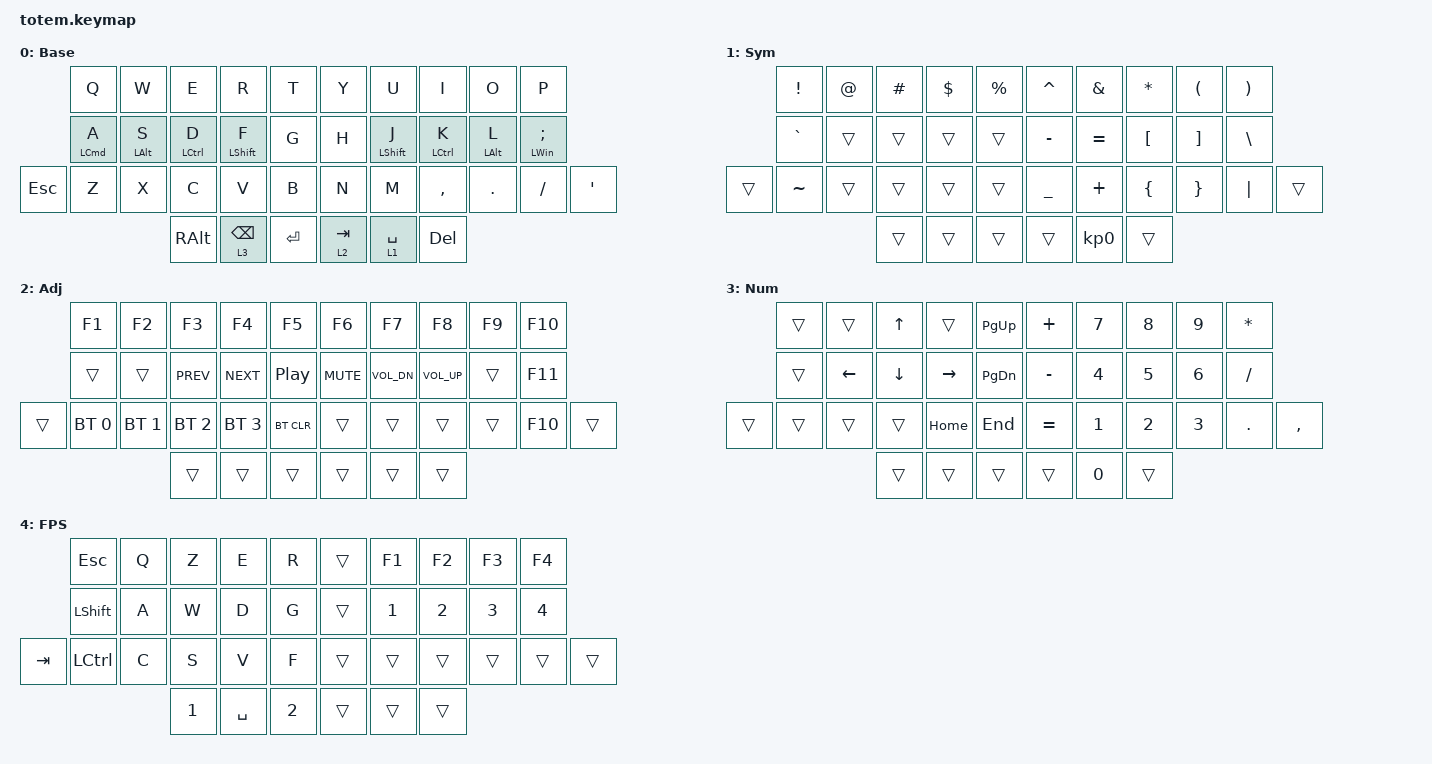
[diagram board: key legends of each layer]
//
//                                                        ▀▀▀▀▀     ▀▀▀▀▀          ▀▀█▀▀
//                                                        ▄▀▀▀▄  ▄  ▄▀▀▀▄  ▄  ▄▀▀▀▄  █  ▄▀▀▀▄
//                                                        █   █  █  █   █  █  █   █  █  █   █
//                                                         ▀▀▀   █   ▀▀▀   █   ▀▀▀   ▀   ▀▀▀
//                                                               █      ▄▄▄█▄▄▄    █   █  
//                                                               ▀      █  █  █     █▄█
//                                                             ▀▀▀▀▀    █  █  █      ▀
//                                                                      ▀  ▀  ▀
//
// ▄▄▄▄▄▄▄▄▄▄▄▄▄▄▄▄▄▄▄▄▄▄▄▄▄▄▄▄▄▄▄▄▄▄▄▄▄▄▄▄▄▄▄▄▄▄▄▄▄▄▄▄▄▄▄▄▄▄▄▄▄▄▄▄▄▄▄▄▄▄▄▄▄▄▄▄▄▄▄▄▄▄▄▄▄▄▄▄▄▄▄▄▄▄▄▄▄▄▄▄▄▄▄▄▄▄▄▄▄▄▄▄▄▄▄▄▄▄▄▄▄▄▄▄▄▄▄▄▄▄▄▄▄▄▄▄▄▄▄▄▄▄▄▄▄▄▄▄▄

#include <behaviors.dtsi>
#include <dt-bindings/zmk/bt.h>
#include <dt-bindings/zmk/keys.h>

#define BASE 0
#define NAV  1
#define SYM  2
#define ADJ  3
#define TVP1 4
#define TVP2 5

&mt {
    quick-tap-ms = <100>;
    global-quick-tap;
    flavor = "tap-preferred";
    tapping-term-ms = <170>;
};

/ {
    combos {
        compatible = "zmk,combos";

        combo_esc {
            timeout-ms = <50>;
            key-positions = <0 1>;
            bindings = <&kp ESC>;
        };

        combo_tvp {
            timeout-ms = <100>;
            key-positions = <11 12 13>;
            bindings = <&tog 0>;
        };
    };

    macros {
        gif: gif {
            label = "giphy";
            compatible = "zmk,behavior-macro";
            #binding-cells = <0>;
            bindings =
                <&macro_press>,
                <&kp LSHFT>,
                <&macro_tap>,
                <&kp N2>,
                <&macro_release>,
                <&kp LSHFT>,
                <&macro_tap>,
                <&kp G &kp I &kp F>;
        };
    };

    keymap {
        compatible = "zmk,keymap";

        // ▄▄▄▄▄▄▄▄▄▄▄▄▄▄▄▄▄▄▄▄▄▄▄▄▄▄▄▄▄▄▄▄▄▄▄▄▄▄▄▄▄▄▄▄▄▄▄▄▄▄▄▄▄▄▄▄▄▄▄▄▄▄▄▄▄▄▄▄▄▄▄▄▄▄▄▄▄▄▄▄▄▄▄▄▄▄▄▄▄▄▄▄▄▄▄▄▄▄▄▄▄▄▄▄▄▄▄▄▄▄▄▄▄▄▄▄▄▄▄▄▄▄▄▄▄▄▄▄▄▄▄▄▄▄▄▄▄▄▄▄▄▄▄▄▄▄▄▄▄

        base_layer {
            // ┏━━━━━━━━━━━━━━━━━━━━━━━━━━━━━━━━━━━━━━━┓

            label = "Base";

            // ┗━━━━━━━━━━━━━━━━━━━━━━━━━━━━━━━━━━━━━━━┛
            //             ┏━━━━━━━━━━━┳━━━━━━━━━━━┳━━━━━━━━━━━┳━━━━━━━━━━━┳━━━━━━━━━━━┓   ┏━━━━━━━━━━━┳━━━━━━━━━━━┳━━━━━━━━━━━┳━━━━━━━━━━━┳━━━━━━━━━━━┓
            //             ┃     Q     ┃     W     ┃     F     ┃     P     ┃     G     ┃   ┃     J     ┃     L     ┃     U     ┃     Y     ┃     ;     ┃
            //             ┣━━━━━━━━━━━╋━━━━━━━━━━━╋━━━━━━━━━━━╋━━━━━━━━━━━╋━━━━━━━━━━━┫   ┣━━━━━━━━━━━╋━━━━━━━━━━━╋━━━━━━━━━━━╋━━━━━━━━━━━╋━━━━━━━━━━━┫
            //             ┃     A     ┃     R     ┃     S     ┃     T     ┃     D     ┃   ┃     H     ┃     N     ┃     E     ┃     I     ┃     O     ┃
            // ┏━━━━━━━━━━━╋━━━━━━━━━━━╋━━━━━━━━━━━╋━━━━━━━━━━━╋━━━━━━━━━━━╋━━━━━━━━━━━┫   ┣━━━━━━━━━━━╋━━━━━━━━━━━╋━━━━━━━━━━━╋━━━━━━━━━━━╋━━━━━━━━━━━╋━━━━━━━━━━━┓
            // ┃     Q     ┃     Z     ┃     X     ┃     C     ┃     V     ┃     B     ┃   ┃     K     ┃     M     ┃     ,     ┃     .     ┃     /     ┃     \     ┃
            // ┗━━━━━━━━━━━┻━━━━━━━━━━━┻━━━━━━━━━━━╋━━━━━━━━━━━╋━━━━━━━━━━━╋━━━━━━━━━━━┫   ┣━━━━━━━━━━━╋━━━━━━━━━━━╋━━━━━━━━━━━╋━━━━━━━━━━━┻━━━━━━━━━━━┻━━━━━━━━━━━┛
            //                                     ┃    DEL    ┃    TAB    ┃    SPC    ┃   ┃   ENTER   ┃           ┃   BSPC    ┃
            //                                     ┗━━━━━━━━━━━┻━━━━━━━━━━━┻━━━━━━━━━━━┛   ┗━━━━━━━━━━━┻━━━━━━━━━━━┻━━━━━━━━━━━┛

            bindings = <
            &kp Q               &kp W           &kp E        &kp R             &kp T        &kp Y      &kp U             &kp I        &kp O           &kp P
            &mt LEFT_COMMAND A  &mt LEFT_ALT S  &mt LCTRL D  &mt LEFT_SHIFT F  &kp G        &kp H      &mt LEFT_SHIFT J  &mt LCTRL K  &mt LEFT_ALT L  &mt LEFT_WIN SEMICOLON
&kp ESCAPE  &kp Z               &kp X           &kp C        &kp V             &kp B        &kp N      &kp M             &kp COMMA    &kp DOT         &kp FSLH                &kp SQT
                                                &kp RALT     &lt 3 BACKSPACE   &kp ENTER    &lt 2 TAB  &lt 1 SPACE       &kp DEL
            >;
        };

        // ▄▄▄▄▄▄▄▄▄▄▄▄▄▄▄▄▄▄▄▄▄▄▄▄▄▄▄▄▄▄▄▄▄▄▄▄▄▄▄▄▄▄▄▄▄▄▄▄▄▄▄▄▄▄▄▄▄▄▄▄▄▄▄▄▄▄▄▄▄▄▄▄▄▄▄▄▄▄▄▄▄▄▄▄▄▄▄▄▄▄▄▄▄▄▄▄▄▄▄▄▄▄▄▄▄▄▄▄▄▄▄▄▄▄▄▄▄▄▄▄▄▄▄▄▄▄▄▄▄▄▄▄▄▄▄▄▄▄▄▄▄▄▄▄▄▄▄▄▄

        sym_layer {
            // ┏━━━━━━━━━━━━━━━━━━━━━━━━━━━━━━━━━━━━━━━┓

            label = "Sym";

            // ┗━━━━━━━━━━━━━━━━━━━━━━━━━━━━━━━━━━━━━━━┛
            //             ┏━━━━━━━━━━━┳━━━━━━━━━━━┳━━━━━━━━━━━┳━━━━━━━━━━━┳━━━━━━━━━━━┓   ┏━━━━━━━━━━━┳━━━━━━━━━━━┳━━━━━━━━━━━┳━━━━━━━━━━━┳━━━━━━━━━━━┓
            //             ┃           ┃           ┃     UP    ┃           ┃     {     ┃   ┃     }     ┃     7     ┃     8     ┃     9     ┃     +     ┃
            //             ┣━━━━━━━━━━━╋━━━━━━━━━━━╋━━━━━━━━━━━╋━━━━━━━━━━━╋━━━━━━━━━━━┫   ┣━━━━━━━━━━━╋━━━━━━━━━━━╋━━━━━━━━━━━╋━━━━━━━━━━━╋━━━━━━━━━━━┫
            //             ┃   SHIFT   ┃   LEFT    ┃    DOWN   ┃   RIGHT   ┃     [     ┃   ┃     ]     ┃     4     ┃     5     ┃     6     ┃     -     ┃
            // ┏━━━━━━━━━━━╋━━━━━━━━━━━╋━━━━━━━━━━━╋━━━━━━━━━━━╋━━━━━━━━━━━╋━━━━━━━━━━━┫   ┣━━━━━━━━━━━╋━━━━━━━━━━━╋━━━━━━━━━━━╋━━━━━━━━━━━╋━━━━━━━━━━━╋━━━━━━━━━━━┓
            // ┃           ┃           ┃   P UP    ┃  C LOCK   ┃  P DOWN   ┃     (     ┃   ┃     )     ┃     1     ┃     2     ┃     3     ┃     *     ┃           ┃
            // ┗━━━━━━━━━━━┻━━━━━━━━━━━┻━━━━━━━━━━━╋━━━━━━━━━━━╋━━━━━━━━━━━╋━━━━━━━━━━━┫   ┣━━━━━━━━━━━╋━━━━━━━━━━━╋━━━━━━━━━━━╋━━━━━━━━━━━┻━━━━━━━━━━━┻━━━━━━━━━━━┛
            //                                     ┃           ┃    TAB    ┃    SPC    ┃   ┃    DEL    ┃     0     ┃           ┃
            //                                     ┗━━━━━━━━━━━┻━━━━━━━━━━━┻━━━━━━━━━━━┛   ┗━━━━━━━━━━━┻━━━━━━━━━━━┻━━━━━━━━━━━┛

            bindings = <
        &kp EXCL   &kp AT  &kp HASH  &kp DOLLAR  &kp PERCENT    &kp CARET       &kp AMPERSAND  &kp STAR          &kp LEFT_PARENTHESIS  &kp RIGHT_PARENTHESIS
        &kp GRAVE  &trans  &trans    &trans      &trans         &kp MINUS       &kp EQUAL      &kp LEFT_BRACKET  &kp RIGHT_BRACKET     &kp BACKSLASH
&trans  &kp TILDE  &trans  &trans    &trans      &trans         &kp UNDERSCORE  &kp PLUS       &kp LEFT_BRACE    &kp RIGHT_BRACE       &kp PIPE               &trans
                           &trans    &trans      &trans         &trans          &kp KP_N0      &trans
            >;
        };

        // ▄▄▄▄▄▄▄▄▄▄▄▄▄▄▄▄▄▄▄▄▄▄▄▄▄▄▄▄▄▄▄▄▄▄▄▄▄▄▄▄▄▄▄▄▄▄▄▄▄▄▄▄▄▄▄▄▄▄▄▄▄▄▄▄▄▄▄▄▄▄▄▄▄▄▄▄▄▄▄▄▄▄▄▄▄▄▄▄▄▄▄▄▄▄▄▄▄▄▄▄▄▄▄▄▄▄▄▄▄▄▄▄▄▄▄▄▄▄▄▄▄▄▄▄▄▄▄▄▄▄▄▄▄▄▄▄▄▄▄▄▄▄▄▄▄▄▄▄▄
        // ▄▄▄▄▄▄▄▄▄▄▄▄▄▄▄▄▄▄▄▄▄▄▄▄▄▄▄▄▄▄▄▄▄▄▄▄▄▄▄▄▄▄▄▄▄▄▄▄▄▄▄▄▄▄▄▄▄▄▄▄▄▄▄▄▄▄▄▄▄▄▄▄▄▄▄▄▄▄▄▄▄▄▄▄▄▄▄▄▄▄▄▄▄▄▄▄▄▄▄▄▄▄▄▄▄▄▄▄▄▄▄▄▄▄▄▄▄▄▄▄▄▄▄▄▄▄▄▄▄▄▄▄▄▄▄▄▄▄▄▄▄▄▄▄▄▄▄▄▄

        adjust_layer {
            // ┏━━━━━━━━━━━━━━━━━━━━━━━━━━━━━━━━━━━━━━━┓

            label = "Adj";

            // ┗━━━━━━━━━━━━━━━━━━━━━━━━━━━━━━━━━━━━━━━┛
            //             ┏━━━━━━━━━━━┳━━━━━━━━━━━┳━━━━━━━━━━━┳━━━━━━━━━━━┳━━━━━━━━━━━┓   ┏━━━━━━━━━━━┳━━━━━━━━━━━┳━━━━━━━━━━━┳━━━━━━━━━━━┳━━━━━━━━━━━┓
            //             ┃   RESET   ┃ BT CLEAR  ┃  OUT TOG  ┃           ┃           ┃   ┃           ┃    F7     ┃    F8     ┃    F9     ┃    F12    ┃
            //             ┣━━━━━━━━━━━╋━━━━━━━━━━━╋━━━━━━━━━━━╋━━━━━━━━━━━╋━━━━━━━━━━━┫   ┣━━━━━━━━━━━╋━━━━━━━━━━━╋━━━━━━━━━━━╋━━━━━━━━━━━╋━━━━━━━━━━━┫
            //             ┃ BOOTLOAD  ┃ BT NEXT   ┃           ┃           ┃           ┃   ┃           ┃    F4     ┃    F5     ┃    F6     ┃    F11    ┃
            // ┏━━━━━━━━━━━╋━━━━━━━━━━━╋━━━━━━━━━━━╋━━━━━━━━━━━╋━━━━━━━━━━━╋━━━━━━━━━━━┫   ┣━━━━━━━━━━━╋━━━━━━━━━━━╋━━━━━━━━━━━╋━━━━━━━━━━━╋━━━━━━━━━━━╋━━━━━━━━━━━┓
            // ┃           ┃           ┃ BT PREV   ┃           ┃           ┃           ┃   ┃           ┃    F1     ┃    F2     ┃    F3     ┃    F10    ┃           ┃
            // ┗━━━━━━━━━━━┻━━━━━━━━━━━┻━━━━━━━━━━━╋━━━━━━━━━━━╋━━━━━━━━━━━╋━━━━━━━━━━━┫   ┣━━━━━━━━━━━╋━━━━━━━━━━━╋━━━━━━━━━━━╋━━━━━━━━━━━┻━━━━━━━━━━━┻━━━━━━━━━━━┛
            //                                     ┃           ┃           ┃           ┃   ┃           ┃           ┃           ┃
            //                                     ┗━━━━━━━━━━━┻━━━━━━━━━━━┻━━━━━━━━━━━┛   ┗━━━━━━━━━━━┻━━━━━━━━━━━┻━━━━━━━━━━━┛

            bindings = <
        &kp F1        &kp F2        &kp F3        &kp F4        &kp F5              &kp F6      &kp F7        &kp F8           &kp F9  &kp F10
        &trans        &trans        &kp C_PREV    &kp C_NEXT    &kp C_PLAY_PAUSE    &kp C_MUTE  &kp C_VOL_DN  &kp C_VOLUME_UP  &trans  &kp F11
&trans  &bt BT_SEL 0  &bt BT_SEL 1  &bt BT_SEL 2  &bt BT_SEL 3  &bt BT_CLR          &trans      &trans        &trans           &trans  &kp F10  &trans
                                    &trans        &trans        &trans              &trans      &trans        &trans
            >;
        };

        // ▄▄▄▄▄▄▄▄▄▄▄▄▄▄▄▄▄▄▄▄▄▄▄▄▄▄▄▄▄▄▄▄▄▄▄▄▄▄▄▄▄▄▄▄▄▄▄▄▄▄▄▄▄▄▄▄▄▄▄▄▄▄▄▄▄▄▄▄▄▄▄▄▄▄▄▄▄▄▄▄▄▄▄▄▄▄▄▄▄▄▄▄▄▄▄▄▄▄▄▄▄▄▄▄▄▄▄▄▄▄▄▄▄▄▄▄▄▄▄▄▄▄▄▄▄▄▄▄▄▄▄▄▄▄▄▄▄▄▄▄▄▄▄▄▄▄▄▄▄
        // ▄▄▄▄▄▄▄▄▄▄▄▄▄▄▄▄▄▄▄▄▄▄▄▄▄▄▄▄▄▄▄▄▄▄▄▄▄▄▄▄▄▄▄▄▄▄▄▄▄▄▄▄▄▄▄▄▄▄▄▄▄▄▄▄▄▄▄▄▄▄▄▄▄▄▄▄▄▄▄▄▄▄▄▄▄▄▄▄▄▄▄▄▄▄▄▄▄▄▄▄▄▄▄▄▄▄▄▄▄▄▄▄▄▄▄▄▄▄▄▄▄▄▄▄▄▄▄▄▄▄▄▄▄▄▄▄▄▄▄▄▄▄▄▄▄▄▄▄▄

        Num {
            bindings = <
        &trans  &trans    &kp UP_ARROW  &trans     &kp PAGE_UP      &kp PLUS   &kp NUMBER_7  &kp NUMBER_8  &kp NUMBER_9  &kp STAR
        &trans  &kp LEFT  &kp DOWN      &kp RIGHT  &kp PAGE_DOWN    &kp MINUS  &kp NUMBER_4  &kp NUMBER_5  &kp NUMBER_6  &kp SLASH
&trans  &trans  &trans    &trans        &kp HOME   &kp END          &kp EQUAL  &kp NUMBER_1  &kp NUMBER_2  &kp NUMBER_3  &kp DOT    &kp COMMA
                          &trans        &trans     &trans           &trans     &kp NUMBER_0  &trans
            >;

            label = "Num";
        };

        FPS {
            bindings = <
         &kp ESC         &kp Q  &kp Z   &kp E      &kp R     &trans  &kp F1  &kp F2  &kp F3  &kp F4
         &kp LEFT_SHIFT  &kp A  &kp W   &kp D      &kp G     &trans  &kp N1  &kp N2  &kp N3  &kp N4
&kp TAB  &kp LCTRL       &kp C  &kp S   &kp V      &kp F     &trans  &trans  &trans  &trans  &trans  &trans
                                &kp N1  &kp SPACE  &kp N2    &trans  &trans  &trans
            >;

            label = "FPS";
        };
    };
};
